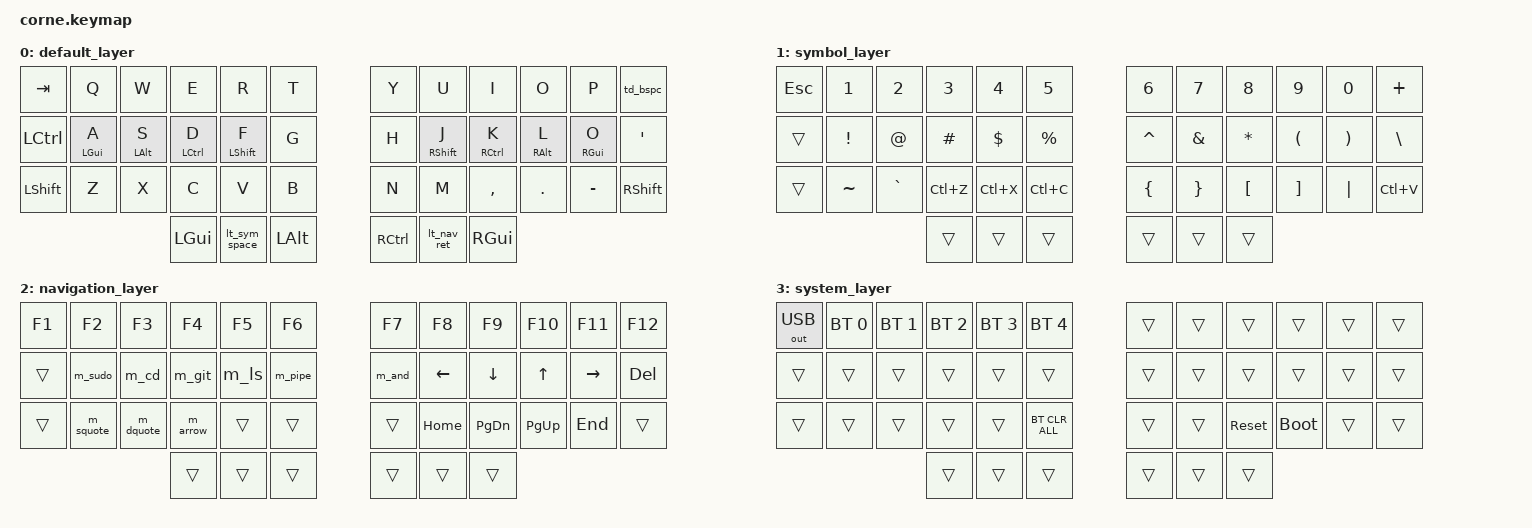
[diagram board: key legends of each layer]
/*
 * Copyright (c) 2020 The ZMK Contributors
 * SPDX-License-Identifier: MIT
 *
 * Corne V3 QWERTZ Layout - Kombiniert mit fortgeschrittenen Behaviors
 */

#include <behaviors.dtsi>
#include <dt-bindings/zmk/keys.h>
#include <dt-bindings/zmk/bt.h>
#include <dt-bindings/zmk/outputs.h> // Für &out

// Key Positions für Corne (0-41)
#define LEFT_POSITIONS  0 1 2 3 4 5 12 13 14 15 16 17 24 25 26 27 28 29 36 37 38
#define RIGHT_POSITIONS 6 7 8 9 10 11 18 19 20 21 22 23 30 31 32 33 34 35 39 40 41

// Layer-Definitionen für bessere Lesbarkeit
#define DEF 0 // Default Layer
#define SYM 1 // Symbol Layer
#define NAV 2 // Navigations-/Funktions-Layer
#define SYS 3 // System Layer

/ { // Start des Root-Node Overlays

    behaviors {
        // Double-tap Backspace für Wort löschen
        td_bspc: tap_dance_backspace {
            compatible = "zmk,behavior-tap-dance";
            #binding-cells = <0>;
            tapping-term-ms = <200>;
            bindings = <&kp BSPC>, <&kp LC(BSPC)>;
        };

        // Home Row Mods mit Positions-Trigger
        hrml: home_row_mods_left {
            compatible = "zmk,behavior-hold-tap";
            #binding-cells = <2>;
            tapping-term-ms = <200>;
            quick-tap-ms = <150>;
            flavor = "balanced";
            hold-trigger-key-positions = <RIGHT_POSITIONS>;
            bindings = <&kp>, <&kp>; // Platzhalter, werden im Keymap-Aufruf gefüllt
        };

        hrmr: home_row_mods_right {
            compatible = "zmk,behavior-hold-tap";
            #binding-cells = <2>;
            tapping-term-ms = <200>;
            quick-tap-ms = <150>;
            flavor = "balanced";
            hold-trigger-key-positions = <LEFT_POSITIONS>;
            bindings = <&kp>, <&kp>; // Platzhalter
        };
        
        // Layer-Tap mit "Hold-Preferred" für Daumen (für Layer-Zugriff)
        lt_sym_space: layer_tap_sym_space { // Angepasst von lthp, spezifisch für SYM + SPACE
            compatible = "zmk,behavior-hold-tap";
            #binding-cells = <0>; // Fest definiert, keine Parameter aus Keymap
            tapping-term-ms = <250>; // Etwas großzügiger für Daumen-Layer
            quick-tap-ms = <150>;
            flavor = "hold-preferred"; // Layer-Zugriff hat Priorität
            bindings = <&mo SYM>, <&kp SPACE>; 
        };

        lt_nav_ret: layer_tap_nav_ret { // Angepasst von lthp, spezifisch für NAV + ENTER
            compatible = "zmk,behavior-hold-tap";
            #binding-cells = <0>; // Fest definiert
            tapping-term-ms = <250>;
            quick-tap-ms = <150>;
            flavor = "hold-preferred";
            bindings = <&mo NAV>, <&kp RET>;
        };
    }; // Ende behaviors

    macros {
        // Deine gewünschten Makros
        m_sudo: macro_sudo { compatible = "zmk,behavior-macro"; #binding-cells = <0>; wait-ms = <10>; tap-ms = <10>; bindings = <&kp S>, <&kp U>, <&kp D>, <&kp O>, <&kp SPACE>; };
        m_cd: macro_cd { compatible = "zmk,behavior-macro"; #binding-cells = <0>; wait-ms = <10>; tap-ms = <10>; bindings = <&kp C>, <&kp D>, <&kp SPACE>; };
        m_ls: macro_ls { compatible = "zmk,behavior-macro"; #binding-cells = <0>; wait-ms = <10>; tap-ms = <10>; bindings = <&kp L>, <&kp S>, <&kp SPACE>, <&kp MINUS>, <&kp L>, <&kp A>, <&kp SPACE>; };
        m_git: macro_git { compatible = "zmk,behavior-macro"; #binding-cells = <0>; wait-ms = <10>; tap-ms = <10>; bindings = <&kp G>, <&kp I>, <&kp T>, <&kp SPACE>; };
        m_pipe: macro_pipe { compatible = "zmk,behavior-macro"; #binding-cells = <0>; wait-ms = <10>; tap-ms = <10>; bindings = <&kp SPACE>, <&kp PIPE>, <&kp SPACE>; };
        m_and: macro_and { compatible = "zmk,behavior-macro"; #binding-cells = <0>; wait-ms = <10>; tap-ms = <10>; bindings = <&kp SPACE>, <&kp AMPS>, <&kp AMPS>, <&kp SPACE>; };
        m_arrow: macro_arrow { compatible = "zmk,behavior-macro"; #binding-cells = <0>; wait-ms = <10>; tap-ms = <10>; bindings = <&kp MINUS>, <&kp GT>; };
        m_dquote: macro_dquote { compatible = "zmk,behavior-macro"; #binding-cells = <0>; wait-ms = <10>; tap-ms = <10>; bindings = <&kp DQT>, <&kp DQT>, <&kp LEFT>; };
        m_squote: macro_squote { compatible = "zmk,behavior-macro"; #binding-cells = <0>; wait-ms = <10>; tap-ms = <10>; bindings = <&kp SQT>, <&kp SQT>, <&kp LEFT>; };
    }; // Ende macros

    combos {
        compatible = "zmk,combos";
        combo_sys_layer {
            timeout-ms = <50>;
            // Corne Tasten: 0-20 (links), 21-41 (rechts)
            // Innere Daumentasten: 20 (links) und 41 (rechts)
            key-positions = <20 41>; 
            bindings = <&to SYS>;
            layers = <DEF SYM NAV>; 
        };
    }; // Ende combos

    keymap {
        compatible = "zmk,keymap";

        default_layer { // Layer 0: QWERTZ Base mit Home Row Mods
            bindings = <
            // Linke Hälfte (Tasten 0-5, 12-17, 24-29, Daumen 36-38)                     // Rechte Hälfte (Tasten 6-11, 18-23, 30-35, Daumen 39-41)
            &kp TAB      &kp Q            &kp W            &kp E            &kp R            &kp T            &kp Y            &kp U            &kp I            &kp O            &kp P            &td_bspc
            &kp LCTRL    &hrml LGUI A     &hrml LALT S     &hrml LCTRL D    &hrml LSHFT F    &kp G            &kp H            &hrmr RSHFT J    &hrmr RCTRL K    &hrmr RALT L     &hrmr RGUI O     &kp SQT  // O für Ö
            &kp LSHFT    &kp Z            &kp X            &kp C            &kp V            &kp B            &kp N            &kp M            &kp COMMA        &kp DOT          &kp MINUS        &kp RSHFT
                                          &kp LGUI         &lt_sym_space    &kp LALT                          &kp RCTRL        &lt_nav_ret      &kp RGUI
            >;
        };

        symbol_layer { // Layer 1 (SYM): Symbole & Zahlen
            bindings = <
            // Linke Hälfte                                                                // Rechte Hälfte
            &kp ESC      &kp N1           &kp N2           &kp N3           &kp N4           &kp N5           &kp N6           &kp N7           &kp N8           &kp N9           &kp N0           &kp PLUS
            &trans       &kp EXCL         &kp AT           &kp HASH         &kp DLLR         &kp PRCNT        &kp CARET        &kp AMPS         &kp ASTRK        &kp LPAR         &kp RPAR         &kp BSLH
            &trans       &kp TILDE        &kp GRAVE        &kp LC(Z)        &kp LC(X)        &kp LC(C)        &kp LBRC         &kp RBRC         &kp LBKT         &kp RBKT         &kp PIPE         &kp LC(V) // Copy/Paste
                                          &trans           &trans           &trans                            &trans           &trans           &trans
            >;
        };

        navigation_layer { // Layer 2 (NAV): Navigation, F-Tasten & Macros
            bindings = <
            // Linke Hälfte                                                                // Rechte Hälfte
            &kp F1       &kp F2           &kp F3           &kp F4           &kp F5           &kp F6           &kp F7           &kp F8           &kp F9           &kp F10          &kp F11          &kp F12
            &trans       &m_sudo          &m_cd            &m_git           &m_ls            &m_pipe          &m_and           &kp LEFT         &kp DOWN         &kp UP           &kp RIGHT        &kp DEL
            &trans       &m_squote        &m_dquote        &m_arrow         &trans           &trans           &trans           &kp HOME         &kp PG_DN        &kp PG_UP        &kp END          &trans
                                          &trans           &trans           &trans                            &trans           &trans           &trans
            >;
        };

        system_layer { // Layer 3 (SYS): System-Funktionen (Bluetooth, Reset)
            bindings = <
            // Linke Hälfte                                                                // Rechte Hälfte
            &out OUT_USB  &bt BT_SEL 0     &bt BT_SEL 1     &bt BT_SEL 2     &bt BT_SEL 3     &bt BT_SEL 4     &trans           &trans           &trans           &trans           &trans           &trans
            &trans        &trans           &trans           &trans           &trans           &trans           &trans           &trans           &trans           &trans           &trans           &trans
            &trans        &trans           &trans           &trans           &trans           &bt BT_CLR_ALL   &trans           &trans           &sys_reset       &bootloader      &trans           &trans // ACHTUNG: Reset!
                                          &trans           &trans           &trans                            &trans           &trans           &trans
            >;
        };
    }; // Ende keymap

}; // Ende des Root-Node Overlays / { ... }
